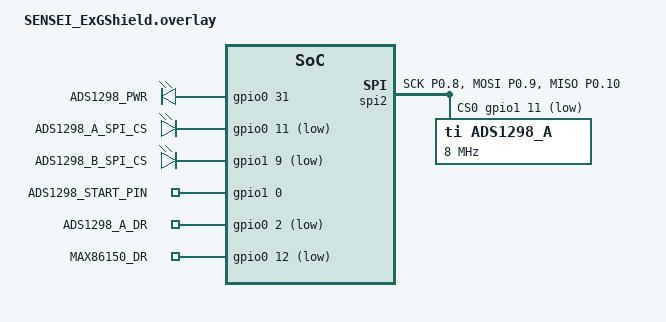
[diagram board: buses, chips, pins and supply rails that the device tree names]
/*
 * Copyright (c) 2022 Nordic Semiconductor ASA
 *
 * SPDX-License-Identifier: LicenseRef-Nordic-5-Clause
 */

 / {
   
	sensei_pwr: sensei_pwr {
		compatible = "gpio-leds";
		gpio_ads1298_pwr: gpio_ads1298_pwr {
			gpios = <&gpio0 31 GPIO_ACTIVE_HIGH>;  // nRF_P0.31 corresponds to gpio0 31
			label = "ADS1298_PWR";
		};
	};
	
	gpio_nodes {
        compatible = "gpio-leds";

        gpio_ads1298_a_spi_cs: gpio_ads1298_a_spi_cs {
            gpios = <&gpio0 11 GPIO_ACTIVE_LOW>;
            label = "ADS1298_A_SPI_CS";
        };

        gpio_ads1298_b_spi_cs: gpio_ads1298_b_spi_cs {
            gpios = <&gpio1 9 GPIO_ACTIVE_LOW>;
            label = "ADS1298_B_SPI_CS";
        };
		
		gpio_ads1298_start_pin: gpio_ads1298_start_pin {
            gpios = <&gpio1 0 GPIO_ACTIVE_HIGH>;
            label = "ADS1298_START_PIN";
        };
    };
	
	buttons{
		gpio_ads1298_a_dr: gpio_ads1298_a_dr {
			gpios = <&gpio0 2 (GPIO_PULL_UP | GPIO_ACTIVE_LOW)>;
			label = "ADS1298_A_DR";
		};
		gpio_ppg_max86150_dr: gpio_ppg_max86150_dr {
			gpios = <&gpio0 12 (GPIO_PULL_UP | GPIO_ACTIVE_LOW)>;
			label = "MAX86150_DR";
		};
	};
	
	
	
};



/* STEP 2.1 - Add the SPI peripheral to spi2 */
&i2c2 {	status = "disabled";};
&uart2 {	status = "disabled";};
 

/*
&spi2 {
    status = "okay";
    compatible = "nordic,nrf-spim";
    pinctrl-0 = <&spi_dummy>;
};*/

&spi2 {
    compatible = "nordic,nrf-spim";
	status = "okay";
	pinctrl-0 = <&spi2_default>;
	pinctrl-1 = <&spi2_sleep>;
	pinctrl-names = "default", "sleep";
	cs-gpios = <&gpio1 11 GPIO_ACTIVE_LOW>;
	ads1298_a: ads1298_a@0 {
		compatible = "ti,ads1298_a";
		reg = <0>;
		spi-max-frequency = <8000000>;
		duplex = <1>;              // Full duplex
        frame-format = <0>;        // SPI frame format (default, typically 0)
	};
};


&pinctrl {
	spi2_default: spi2_default {
		group1 {
				psels = <NRF_PSEL(SPIM_SCK, 0, 8)>,
						<NRF_PSEL(SPIM_MOSI, 0, 9)>,
						<NRF_PSEL(SPIM_MISO, 0, 10)>;
		};
	};

	spi2_sleep: spi2_sleep {
		group1 {
				psels = <NRF_PSEL(SPIM_SCK, 0, 8)>,
						<NRF_PSEL(SPIM_MOSI, 0, 9)>,
						<NRF_PSEL(SPIM_MISO, 0, 10)>;
				low-power-enable;
		};
	};
};

